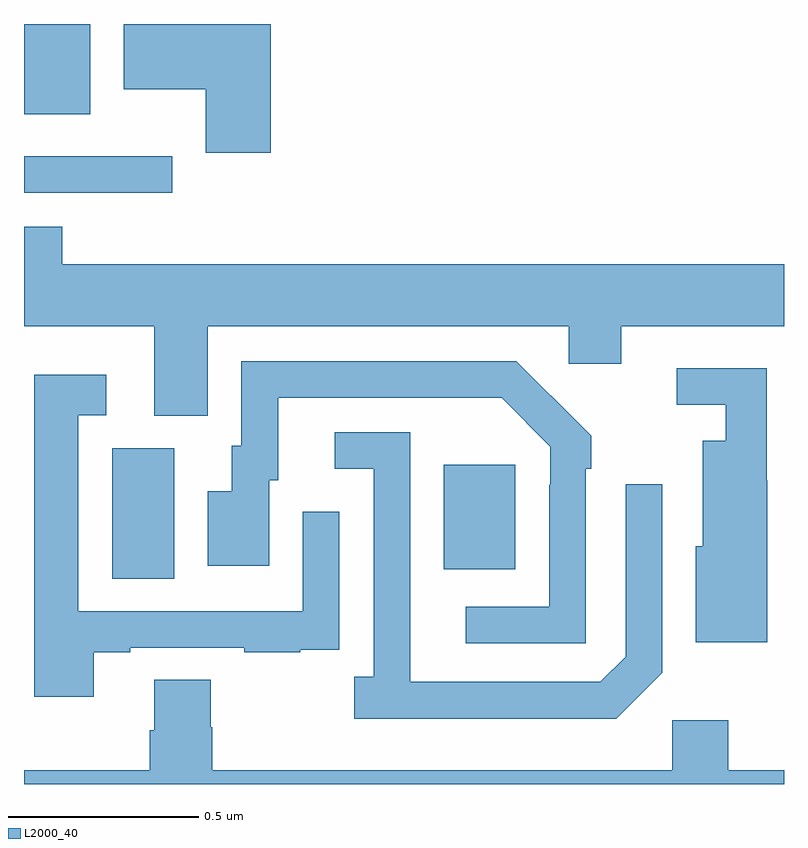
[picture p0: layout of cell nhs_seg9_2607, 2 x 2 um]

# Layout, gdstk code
import gdstk
lib = gdstk.Library(unit=1e-6, precision=1e-09)
def R(c, l, rs):  # rectangles x0, y0, x1, y1
    for r in rs: c.add(gdstk.rectangle(r[:2], r[2:], *l))
def P(c, l, *ps):  # polygons
    for p in ps: c.add(gdstk.Polygon(p, *l))
L2000_40 = (2000, 40)

nhs_seg9_2607 = lib.new_cell('nhs_seg9_2607')
R(nhs_seg9_2607, L2000_40, [(142.232,1245.04,142.396,1245.384), (143.105,1245.065,143.293,1245.34), (142,1246.056,142.39,1246.152), (142,1246.262,142.174,1246.5)])
P(nhs_seg9_2607, L2000_40, [(142.649,1246.5),(142.262,1246.5),(142.262,1246.328),(142.478,1246.328),(142.478,1246.161),(142.649,1246.161)],
  [(142.483,1245.704),(143.433,1245.704),(143.433,1245.606),(143.572,1245.606),(143.572,1245.704),(144,1245.704),(144,1245.868),(142.1,1245.868),(142.1,1245.967),(142,1245.967),(142,1245.704),(142.343,1245.704),(142.343,1245.469),(142.483,1245.469)],
  [(143.478,1245.329),(143.493,1245.329),(143.493,1245.417),(143.388,1245.522),(143.387,1245.521),(143.296,1245.612),(142.572,1245.612),(142.572,1245.39),(142.547,1245.39),(142.547,1245.271),(142.484,1245.271),(142.484,1245.075),(142.645,1245.075),(142.645,1245.3),(142.669,1245.3),(142.669,1245.516),(143.257,1245.516),(143.385,1245.387),(143.385,1245.287),(143.382,1245.287),(143.382,1244.967),(143.163,1244.967),(143.163,1244.871),(143.478,1244.871)],
  [(143.956,1245.299),(143.955,1245.299),(143.955,1245.594),(143.718,1245.594),(143.718,1245.498),(143.847,1245.498),(143.847,1245.403),(143.786,1245.403),(143.786,1245.126),(143.768,1245.126),(143.768,1244.873),(143.956,1244.873)],
  [(142.183,1244.847),(142.279,1244.847),(142.279,1244.859),(142.579,1244.859),(142.579,1244.847),(142.727,1244.847),(142.727,1244.853),(142.829,1244.853),(142.829,1244.962),(142.83,1244.962),(142.83,1245.217),(142.734,1245.217),(142.734,1244.955),(142.143,1244.955),(142.143,1245.471),(142.216,1245.471),(142.216,1245.577),(142.027,1245.577),(142.027,1244.73),(142.183,1244.73)],
  [(143.679,1244.793),(143.679,1245.289),(143.583,1245.289),(143.583,1244.835),(143.517,1244.769),(143.017,1244.769),(143.017,1244.969),(143.016,1244.969),(143.016,1245.426),(142.818,1245.426),(142.818,1245.33),(142.92,1245.33),(142.92,1244.782),(142.869,1244.782),(142.869,1244.672),(143.558,1244.672)],
  [(144,1244.536),(143.853,1244.536),(143.853,1244.668),(143.706,1244.668),(143.706,1244.536),(142.496,1244.536),(142.496,1244.649),(142.491,1244.649),(142.491,1244.774),(142.343,1244.774),(142.343,1244.642),(142.331,1244.642),(142.331,1244.536),(142,1244.536),(142,1244.5),(144,1244.5)])

lib.write_gds('nhs_seg9_2607.gds')
